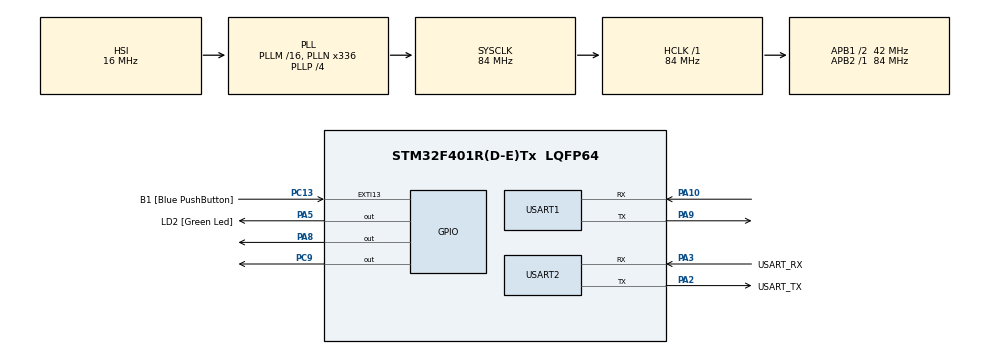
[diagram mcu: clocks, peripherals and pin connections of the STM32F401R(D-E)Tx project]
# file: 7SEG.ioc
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Mcu.Family=STM32F4
Mcu.Name=STM32F401R(D-E)Tx
Mcu.Package=LQFP64
NVIC.PriorityGroup=NVIC_PRIORITYGROUP_4
PA10.Mode=Asynchronous
PA10.Signal=USART1_RX
PA13.GPIO_Label=TMS
PA13.Mode=Trace_Asynchronous_SW
PA13.Signal=SYS_JTMS-SWDIO
PA14.GPIO_Label=TCK
PA14.Mode=Trace_Asynchronous_SW
PA14.Signal=SYS_JTCK-SWCLK
PA2.GPIO_Label=USART_TX
PA2.GPIO_Mode=GPIO_MODE_AF_PP
PA2.GPIO_PuPd=GPIO_NOPULL
PA2.GPIO_Speed=GPIO_SPEED_FREQ_LOW
PA2.Mode=Asynchronous
PA2.Signal=USART2_TX
PA3.GPIO_Label=USART_RX
PA3.GPIO_Mode=GPIO_MODE_AF_PP
PA3.GPIO_PuPd=GPIO_NOPULL
PA3.GPIO_Speed=GPIO_SPEED_FREQ_LOW
PA3.Mode=Asynchronous
PA3.Signal=USART2_RX
PA5.GPIO_Label=LD2 [Green Led]
PA5.GPIO_Mode=GPIO_MODE_OUTPUT_PP
PA5.GPIO_PuPd=GPIO_NOPULL
PA5.GPIO_Speed=GPIO_SPEED_FREQ_LOW
PA5.Signal=GPIO_Output
PA8.Signal=GPIO_Output
PA9.Mode=Asynchronous
PA9.Signal=USART1_TX
PB3.GPIO_Label=SWO
PB3.Mode=Trace_Asynchronous_SW
PB3.Signal=SYS_JTDO-SWO
PC13-ANTI_TAMP.GPIO_Label=B1 [Blue PushButton]
PC13-ANTI_TAMP.GPIO_ModeDefaultEXTI=GPIO_MODE_IT_FALLING
PC13-ANTI_TAMP.GPIO_PuPd=GPIO_NOPULL
PC13-ANTI_TAMP.Signal=GPXTI13
PC14-OSC32_IN.Mode=LSE-External-Oscillator
PC14-OSC32_IN.Signal=RCC_OSC32_IN
PC15-OSC32_OUT.Mode=LSE-External-Oscillator
PC15-OSC32_OUT.Signal=RCC_OSC32_OUT
PC9.Signal=GPIO_Output
PH0\ -\ OSC_IN.Mode=HSE-External-Clock-Source
PH0\ -\ OSC_IN.Signal=RCC_OSC_IN
PH1\ -\ OSC_OUT.Mode=HSE-External-Clock-Source
PH1\ -\ OSC_OUT.Signal=RCC_OSC_OUT
ProjectManager.HeapSize=0x200
ProjectManager.StackSize=0x400
ProjectManager.TargetToolchain=STM32CubeIDE
RCC.48MHZClocksFreq_Value=48000000
RCC.AHBFreq_Value=84000000
RCC.APB1CLKDivider=RCC_HCLK_DIV2
RCC.APB1Freq_Value=42000000
RCC.APB1TimFreq_Value=84000000
RCC.APB2Freq_Value=84000000
RCC.APB2TimFreq_Value=84000000
RCC.CortexFreq_Value=84000000
RCC.HCLKFreq_Value=84000000
RCC.HSE_VALUE=8000000
RCC.HSI_VALUE=16000000
RCC.PLLN=336
RCC.PLLP=RCC_PLLP_DIV4
RCC.PLLQ=7
RCC.SYSCLKFreq_VALUE=84000000
RCC.SYSCLKSource=RCC_SYSCLKSOURCE_PLLCLK
RCC.VCOOutputFreq_Value=336000000
USART1.VirtualMode=VM_ASYNC
USART2.VirtualMode=VM_ASYNC
board=NUCLEO-F401RE

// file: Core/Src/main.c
/* USER CODE BEGIN Header */
/**
 ******************************************************************************
 * @file           : main.c
 * @brief          : Main program body
 ******************************************************************************
 * @attention
 *
 * Copyright (c) 2026 STMicroelectronics.
 * All rights reserved.
 *
 * This software is licensed under terms that can be found in the LICENSE file
 * in the root directory of this software component.
 * If no LICENSE file comes with this software, it is provided AS-IS.
 *
 ******************************************************************************
 */
/* USER CODE END Header */
#include "main.h"

/* USER CODE BEGIN Includes */
#include "tm1637.h"
#include <stdio.h>
/* USER CODE END Includes */

UART_HandleTypeDef huart1;
UART_HandleTypeDef huart2;

/* USER CODE BEGIN PV */
volatile uint8_t rxByte;
uint8_t rxBuffer[20];
uint8_t rxIndex = 0;
volatile uint8_t dataReceivedFlag = 0; // Flag to signal main loop
/* USER CODE END PV */

void SystemClock_Config(void);
static void MX_GPIO_Init(void);
static void MX_USART2_UART_Init(void);
static void MX_USART1_UART_Init(void);

/* USER CODE BEGIN 0 */
int __io_putchar(int ch) {
  HAL_UART_Transmit(&huart2, (uint8_t *)&ch, 1, 10);
  return ch;
}
/* USER CODE END 0 */

int main(void) {

  /* MCU Configuration--------------------------------------------------------*/

  /* Reset of all peripherals, Initializes the Flash interface and the Systick.
   */
  HAL_Init();

  /* Configure the system clock */
  SystemClock_Config();

  /* Initialize all configured peripherals */
  MX_GPIO_Init();
  MX_USART2_UART_Init();
  MX_USART1_UART_Init();
  /* USER CODE BEGIN 2 */
  TM1637_Init();
  TM1637_DisplayDecimal(0, 0); // Start with 0

  // MANUALLY ENABLE USART1 INTERRUPT (If missed by CubeMX)
  HAL_NVIC_SetPriority(USART1_IRQn, 0, 0);
  HAL_NVIC_EnableIRQ(USART1_IRQn);

  printf("System Started. UART2 for Debug. UART1 for DWIN. (POLLING MODE)\r\n");
  // HAL_UART_Receive_IT(&huart1, &rxByte, 1); // DISABLED FOR POLLING
  /* USER CODE END 2 */

  /* Infinite loop */
  while (1) {

    /* USER CODE BEGIN 3 */
    // POLLING MODE (Simpler, No Interrupts)
    // Try to receive 1 byte with 10ms timeout
    if (HAL_UART_Receive(&huart1, &rxByte, 1, 10) == HAL_OK) {
      // We got a byte!
      rxBuffer[rxIndex++] = rxByte;

      // Debug Print
      // printf("RX: %02X\r\n", rxByte);

      // Parser Logic
      if (rxIndex >= 4) {
        if (rxBuffer[0] == 0x5A && rxBuffer[1] == 0xA5) {
          uint8_t len = rxBuffer[2];
          if (rxIndex >= (len + 3)) {
            uint8_t cmd = rxBuffer[3];
            if (cmd == 0x82 || cmd == 0x83) {
              uint16_t val = (rxBuffer[6 + (cmd == 0x83)] << 8) |
                             rxBuffer[7 + (cmd == 0x83)];
              printf("Value: %d\r\n", val);
              TM1637_DisplayDecimal(val, 0);
              rxIndex = 0;
            }
          }
        } else {
          // Shift
          for (int i = 0; i < rxIndex - 1; i++)
            rxBuffer[i] = rxBuffer[i + 1];
          rxIndex--;
        }
      }

      if (rxIndex >= 20)
        rxIndex = 0; // Safety
    }
  }
  /* USER CODE END 3 */
}

void SystemClock_Config(void) {
  RCC_OscInitTypeDef RCC_OscInitStruct = {0};
  RCC_ClkInitTypeDef RCC_ClkInitStruct = {0};

  /** Configure the main internal regulator output voltage
   */
  __HAL_RCC_PWR_CLK_ENABLE();
  __HAL_PWR_VOLTAGESCALING_CONFIG(PWR_REGULATOR_VOLTAGE_SCALE2);

  /** Initializes the RCC Oscillators according to the specified parameters
   * in the RCC_OscInitTypeDef structure.
   */
  RCC_OscInitStruct.OscillatorType = RCC_OSCILLATORTYPE_HSI;
  RCC_OscInitStruct.HSIState = RCC_HSI_ON;
  RCC_OscInitStruct.HSICalibrationValue = RCC_HSICALIBRATION_DEFAULT;
  RCC_OscInitStruct.PLL.PLLState = RCC_PLL_ON;
  RCC_OscInitStruct.PLL.PLLSource = RCC_PLLSOURCE_HSI;
  RCC_OscInitStruct.PLL.PLLM = 16;
  RCC_OscInitStruct.PLL.PLLN = 336;
  RCC_OscInitStruct.PLL.PLLP = RCC_PLLP_DIV4;
  RCC_OscInitStruct.PLL.PLLQ = 7;
  if (HAL_RCC_OscConfig(&RCC_OscInitStruct) != HAL_OK) {
    Error_Handler();
  }

  /** Initializes the CPU, AHB and APB buses clocks
   */
  RCC_ClkInitStruct.ClockType = RCC_CLOCKTYPE_HCLK | RCC_CLOCKTYPE_SYSCLK |
                                RCC_CLOCKTYPE_PCLK1 | RCC_CLOCKTYPE_PCLK2;
  RCC_ClkInitStruct.SYSCLKSource = RCC_SYSCLKSOURCE_PLLCLK;
  RCC_ClkInitStruct.AHBCLKDivider = RCC_SYSCLK_DIV1;
  RCC_ClkInitStruct.APB1CLKDivider = RCC_HCLK_DIV2;
  RCC_ClkInitStruct.APB2CLKDivider = RCC_HCLK_DIV1;

  if (HAL_RCC_ClockConfig(&RCC_ClkInitStruct, FLASH_LATENCY_2) != HAL_OK) {
    Error_Handler();
  }
}

static void MX_USART1_UART_Init(void) {

  huart1.Instance = USART1;
  huart1.Init.BaudRate = 115200;
  huart1.Init.WordLength = UART_WORDLENGTH_8B;
  huart1.Init.StopBits = UART_STOPBITS_1;
  huart1.Init.Parity = UART_PARITY_NONE;
  huart1.Init.Mode = UART_MODE_TX_RX;
  huart1.Init.HwFlowCtl = UART_HWCONTROL_NONE;
  huart1.Init.OverSampling = UART_OVERSAMPLING_16;
  if (HAL_UART_Init(&huart1) != HAL_OK) {
    Error_Handler();
  }
}

static void MX_USART2_UART_Init(void) {

  huart2.Instance = USART2;
  huart2.Init.BaudRate = 115200;
  huart2.Init.WordLength = UART_WORDLENGTH_8B;
  huart2.Init.StopBits = UART_STOPBITS_1;
  huart2.Init.Parity = UART_PARITY_NONE;
  huart2.Init.Mode = UART_MODE_TX_RX;
  huart2.Init.HwFlowCtl = UART_HWCONTROL_NONE;
  huart2.Init.OverSampling = UART_OVERSAMPLING_16;
  if (HAL_UART_Init(&huart2) != HAL_OK) {
    Error_Handler();
  }
}

static void MX_GPIO_Init(void) {
  GPIO_InitTypeDef GPIO_InitStruct = {0};

  /* GPIO Ports Clock Enable */
  __HAL_RCC_GPIOC_CLK_ENABLE();
  __HAL_RCC_GPIOH_CLK_ENABLE();
  __HAL_RCC_GPIOA_CLK_ENABLE();
  __HAL_RCC_GPIOB_CLK_ENABLE();

  /*Configure GPIO pin Output Level */
  HAL_GPIO_WritePin(GPIOA, LD2_Pin | GPIO_PIN_8, GPIO_PIN_RESET);

  /*Configure GPIO pin Output Level */
  HAL_GPIO_WritePin(GPIOC, GPIO_PIN_9, GPIO_PIN_RESET);

  /*Configure GPIO pin : B1_Pin */
  GPIO_InitStruct.Pin = B1_Pin;
  GPIO_InitStruct.Mode = GPIO_MODE_IT_FALLING;
  GPIO_InitStruct.Pull = GPIO_NOPULL;
  HAL_GPIO_Init(B1_GPIO_Port, &GPIO_InitStruct);

  /*Configure GPIO pins : LD2_Pin PA8 */
  GPIO_InitStruct.Pin = LD2_Pin | GPIO_PIN_8;
  GPIO_InitStruct.Mode = GPIO_MODE_OUTPUT_PP;
  GPIO_InitStruct.Pull = GPIO_NOPULL;
  GPIO_InitStruct.Speed = GPIO_SPEED_FREQ_LOW;
  HAL_GPIO_Init(GPIOA, &GPIO_InitStruct);

  /*Configure GPIO pin : PC9 */
  GPIO_InitStruct.Pin = GPIO_PIN_9;
  GPIO_InitStruct.Mode = GPIO_MODE_OUTPUT_PP;
  GPIO_InitStruct.Pull = GPIO_NOPULL;
  GPIO_InitStruct.Speed = GPIO_SPEED_FREQ_LOW;
  HAL_GPIO_Init(GPIOC, &GPIO_InitStruct);

}

/* USER CODE BEGIN 4 */
// Polling Mode: No Callback needed
/* USER CODE END 4 */

void Error_Handler(void) {
  __disable_irq();
  while (1) {
  }
}
#ifdef USE_FULL_ASSERT
/**
 * @brief  Reports the name of the source file and the source line number
 *         where the assert_param error has occurred.
 * @param  file: pointer to the source file name
 * @param  line: assert_param error line source number
 * @retval None
 */
void assert_failed(uint8_t *file, uint32_t line) {
  /* USER CODE BEGIN 6 */
  /* User can add his own implementation to report the file name and line
     number, ex: printf("Wrong parameters value: file %s on line %d\r\n", file,
     line) */
  /* USER CODE END 6 */
}
#endif /* USE_FULL_ASSERT */
